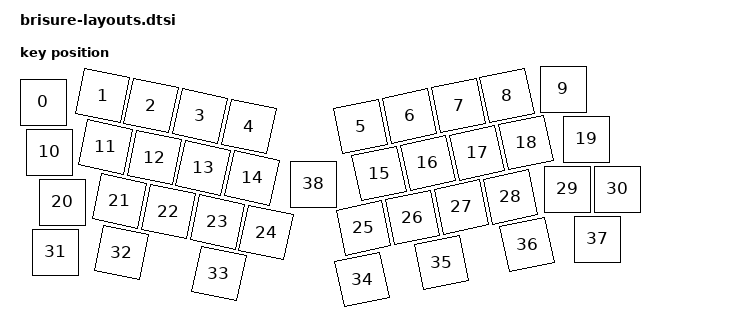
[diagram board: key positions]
#include <physical_layouts.dtsi>

/ {
    physical_layout_brisure: physical_layout_brisure {
        compatible = "zmk,physical-layout";
        display-name = "brisure";
        keys  //                     w   h    x    y     rot    rx    ry
            = <&key_physical_attrs 100 100    0   26       0     0    26>
            , <&key_physical_attrs 100 100  119   13    1200   169    63>
            , <&key_physical_attrs 100 100  216   33    1200   266    83>
            , <&key_physical_attrs 100 100  314   54    1200   364   104>
            , <&key_physical_attrs 100 100  412   75    1200   462   125>
            , <&key_physical_attrs 100 100  635   75 (-1200)   685   125>
            , <&key_physical_attrs 100 100  733   54 (-1200)   783   104>
            , <&key_physical_attrs 100 100  831   33 (-1200)   881    83>
            , <&key_physical_attrs 100 100  928   13 (-1200)   978    63>
            , <&key_physical_attrs 100 100 1040    0       0  1040     0>
            , <&key_physical_attrs 100 100   13  126       0    13   126>
            , <&key_physical_attrs 100 100  125  116    1200   175   166>
            , <&key_physical_attrs 100 100  223  137    1200   273   187>
            , <&key_physical_attrs 100 100  320  158    1200   370   208>
            , <&key_physical_attrs 100 100  418  178    1200   468   228>
            , <&key_physical_attrs 100 100  672  169 (-1200)   722   219>
            , <&key_physical_attrs 100 100  770  148 (-1200)   820   198>
            , <&key_physical_attrs 100 100  868  128 (-1200)   918   178>
            , <&key_physical_attrs 100 100  966  107 (-1200)  1016   157>
            , <&key_physical_attrs 100 100 1087  100       0  1087   100>
            , <&key_physical_attrs 100 100   38  226       0    38   226>
            , <&key_physical_attrs 100 100  153  224    1200   203   274>
            , <&key_physical_attrs 100 100  251  245    1200   301   295>
            , <&key_physical_attrs 100 100  349  266    1200   399   316>
            , <&key_physical_attrs 100 100  446  287    1200   496   337>
            , <&key_physical_attrs 100 100  641  278 (-1200)   691   328>
            , <&key_physical_attrs 100 100  739  257 (-1200)   789   307>
            , <&key_physical_attrs 100 100  837  236 (-1200)   887   286>
            , <&key_physical_attrs 100 100  935  216 (-1200)   985   266>
            , <&key_physical_attrs 100 100 1049  200       0  1049   200>
            , <&key_physical_attrs 100 100 1149  200       0  1149   200>
            , <&key_physical_attrs 100 100   25  326       0    25   326>
            , <&key_physical_attrs 100 100  157  327    1200   207   377>
            , <&key_physical_attrs 100 100  352  369    1200   402   419>
            , <&key_physical_attrs 100 100  638  381 (-1200)   688   431>
            , <&key_physical_attrs 100 100  797  347 (-1200)   847   397>
            , <&key_physical_attrs 100 100  968  311 (-1200)  1018   361>
            , <&key_physical_attrs 100 100 1109  300       0  1109   300>
            , <&key_physical_attrs 100 100  540  190       0   540   190>
            ;
    };
};
